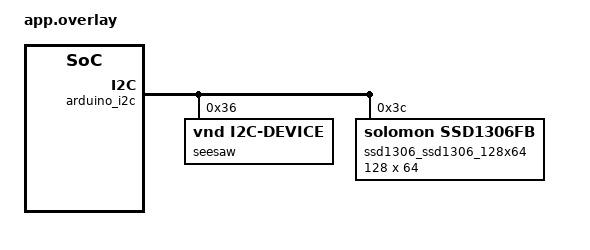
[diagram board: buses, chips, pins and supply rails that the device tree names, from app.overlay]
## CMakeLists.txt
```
# SPDX-License-Identifier: Apache-2.0

cmake_minimum_required(VERSION 3.20.0)
find_package(Zephyr REQUIRED HINTS $ENV{ZEPHYR_BASE})
project(mass)

FILE(GLOB app_sources src/*.c)
target_sources(app PRIVATE ${app_sources})
target_include_directories(app PRIVATE inc)

if(CONFIG_BUILD_WITH_TFM)
  target_include_directories(app PRIVATE
    $<TARGET_PROPERTY:tfm,TFM_BINARY_DIR>/install/interface/include
  )
endif()
```

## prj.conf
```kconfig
CONFIG_STDOUT_CONSOLE=y

CONFIG_MAIN_STACK_SIZE=1536

CONFIG_USB_DEVICE_STACK_NEXT=y

CONFIG_STDOUT_CONSOLE=y
CONFIG_SERIAL=y
CONFIG_UART_LINE_CTRL=y
CONFIG_USBD_MSC_CLASS=y
CONFIG_USBD_MSC_LUNS_PER_INSTANCE=3

CONFIG_LOG=y
CONFIG_USBD_LOG_LEVEL_WRN=y
CONFIG_UDC_DRIVER_LOG_LEVEL_WRN=y

CONFIG_MAIN_STACK_SIZE=1536

CONFIG_BT_HCI_VS_EXT=n
CONFIG_BOARD_SERIAL_BACKEND_CDC_ACM=n

CONFIG_LV_Z_MEM_POOL_SIZE=16384
CONFIG_LV_Z_SHELL=y
CONFIG_MAIN_STACK_SIZE=2048

CONFIG_DISPLAY=y
CONFIG_DISPLAY_LOG_LEVEL_ERR=y

CONFIG_SHELL=y

CONFIG_LVGL=y
CONFIG_LV_MEM_CUSTOM=y
CONFIG_LV_USE_LOG=y
CONFIG_LV_USE_LABEL=y
CONFIG_LV_USE_ROLLER=y
CONFIG_LV_USE_MONKEY=y
CONFIG_LV_FONT_UNSCII_8=y

CONFIG_LV_Z_VDB_SIZE=64
CONFIG_LV_DPI_DEF=148
CONFIG_LV_Z_BITS_PER_PIXEL=1
CONFIG_LV_COLOR_DEPTH_1=y
CONFIG_LV_USE_THEME_DEFAULT=y
CONFIG_LV_THEME_DEFAULT_DARK=y

CONFIG_INPUT=y
CONFIG_LV_Z_ENCODER_INPUT=y
CONFIG_INPUT_EVENT_DUMP=y

CONFIG_I2C=y
CONFIG_I2C_CALLBACK=y
CONFIG_LVGL=y
CONFIG_LV_MEM_CUSTOM=y
CONFIG_LV_USE_LOG=y
CONFIG_LV_USE_LABEL=y
CONFIG_LV_USE_BTN=y
CONFIG_LV_USE_ARC=y
CONFIG_LV_USE_IMG=y
CONFIG_LV_USE_MONKEY=y
CONFIG_LV_FONT_MONTSERRAT_14=y

CONFIG_FLASH=y
CONFIG_FLASH_PAGE_LAYOUT=y
CONFIG_FLASH_MAP=y
CONFIG_DISK_DRIVER_FLASH=y
CONFIG_FILE_SYSTEM=y
CONFIG_FAT_FILESYSTEM_ELM=y
CONFIG_FS_FATFS_LFN=y
CONFIG_FS_FATFS_MAX_LFN=128
```

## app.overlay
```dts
/*
 * Copyright (c) 2023 Nordic Semiconductor ASA
 *
 * SPDX-License-Identifier: Apache-2.0
 */

#include <zephyr/dt-bindings/input/input-event-codes.h>

/ {
	chosen {
		zephyr,display = &ssd1306_ssd1306_128x64;
	};

	lvgl_encoder_input {
		compatible = "zephyr,lvgl-encoder-input";
		rotation-input-code = <INPUT_REL_WHEEL>;
		button-input-code = <INPUT_KEY_ENTER>;
	};
};

&arduino_i2c {
	status = "okay";

    seesaw: seesaw@36 {
        compatible = "vnd,i2c-device";
        reg = <0x36>;
    };

	ssd1306_ssd1306_128x64: ssd1306@3c {
		compatible = "solomon,ssd1306fb";
		reg = <0x3c>;
		width = <128>;
		height = <64>;
		segment-offset = <0>;
		page-offset = <0>;
		display-offset = <0>;
		multiplex-ratio = <63>;
		segment-remap;
		com-invdir;
		prechargep = <0x22>;
	};
};
```

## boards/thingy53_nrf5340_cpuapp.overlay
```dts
/*
 * Copyright (c) 2020 Nordic Semiconductor ASA
 *
 * SPDX-License-Identifier: Apache-2.0
 */

/delete-node/ &storage_partition;
/delete-node/ &cdc_acm_uart;

arduino_i2c: &i2c0 {
	compatible = "nordic,nrf-twim";
	status = "okay";
	clock-frequency = <I2C_BITRATE_STANDARD>;

	pinctrl-0 = <&i2c0_default>;
	pinctrl-1 = <&i2c0_sleep>;
	pinctrl-names = "default", "sleep";
	zephyr,concat-buf-size = <1024>;	
};

&pinctrl {
    i2c0_default: i2c0_default {
		group1 {
			psels = <NRF_PSEL(TWIM_SCL, 0, 4)>,
				<NRF_PSEL(TWIM_SDA, 0, 5)>;
		};
	};

	i2c0_sleep: i2c0_sleep {
		group1 {
			psels = <NRF_PSEL(TWIM_SCL, 0, 4)>,
				<NRF_PSEL(TWIM_SDA, 0, 5)>;
			low-power-enable;
		};
	};
};

&mx25r64 {
	partitions {
		compatible = "fixed-partitions";
		#address-cells = <1>;
		#size-cells = <1>;

		storage_partition: partition@0 {
			label = "storage";
			reg = <0x00000000 0x00020000>;
		};
	};
};

/ {
	chosen {
		zephyr,console = &uart0;
		zephyr,shell-uart = &uart0;
		zephyr,uart-mcumgr = &uart0;
		zephyr,bt-mon-uart = &uart0;
		zephyr,bt-c2h-uart = &uart0;
	};
	msc_disk0 {
		compatible = "zephyr,flash-disk";
		partition = <&storage_partition>;
		disk-name = "NAND";
		cache-size = <4096>;
	};
};
```

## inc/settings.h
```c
#ifndef SETTINGS_H__
#define SETTINGS_H__

#define BOOT_OPTION_BUF_SIZE 64
#define BOOT_OPTION_KEY "boot_option"

#include <lvgl.h>

typedef struct {
    char selected_boot_option[BOOT_OPTION_BUF_SIZE];
    size_t length;
} boot_option_t;

int load_boot_option(boot_option_t *boot_option);
int set_boot_option(boot_option_t *boot_option);

void boot_option_cb(lv_event_t *event);

#endif
```

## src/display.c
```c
#include <zephyr/kernel.h>
#include <zephyr/logging/log.h>
#include <zephyr/zbus/zbus.h>

#include <zephyr/device.h>
#include <zephyr/drivers/display.h>
#include <zephyr/input/input.h>

#include <lvgl.h>
#include <lvgl_input_device.h>

#include <settings.h>

LOG_MODULE_REGISTER(display, LOG_LEVEL_DBG);

static const struct device *lvgl_encoder =
	DEVICE_DT_GET(DT_COMPAT_GET_ANY_STATUS_OKAY(zephyr_lvgl_encoder_input));

int display(void) {
	const struct device *display_dev;
    
	display_dev = DEVICE_DT_GET(DT_CHOSEN(zephyr_display));
	if (!device_is_ready(display_dev)) {
		LOG_ERR("Device not ready, aborting test");
		return 0;
	}

    lv_theme_t * dark_theme;
    dark_theme = lv_theme_mono_init(lv_disp_get_default(), true, &lv_font_unscii_8);
    lv_disp_set_theme(lv_disp_get_default(), dark_theme);

    /* Create a roller */
    lv_obj_t * roller = lv_roller_create(lv_scr_act());
    k_sleep(K_MSEC(100));
    lv_obj_add_event_cb(roller, boot_option_cb, LV_EVENT_KEY, NULL);
    lv_roller_set_options(roller, "Linux\nWindows\nUEFI\nGRUB", LV_ROLLER_MODE_INFINITE);

    lv_obj_set_size(roller, LV_HOR_RES-8, LV_VER_RES-8);
    lv_obj_align(roller, LV_ALIGN_CENTER, 0, 0);
    lv_roller_set_visible_row_count(roller, 3);

	lv_group_t *roller_group;
	roller_group = lv_group_create();
	lv_group_add_obj(roller_group, roller);
    lv_indev_set_group(lvgl_input_get_indev(lvgl_encoder), roller_group);
    lv_group_set_editing(roller_group, true);

	lv_task_handler();
	display_blanking_off(display_dev);

	while (1) {
		lv_task_handler();
		k_sleep(K_MSEC(10));
	}
}

K_THREAD_DEFINE(display_thread, 8192, display, NULL, NULL, NULL, 5, 0, 0);
```

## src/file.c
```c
#include <zephyr/kernel.h>
#include <zephyr/device.h>
#include <zephyr/storage/disk_access.h>
#include <zephyr/logging/log.h>
#include <zephyr/fs/fs.h>

#include <ff.h>

#include <settings.h>

char os_hw_switch_options[4][32] = {
    "set os_hw_switch=0\n",
    "set os_hw_switch=1\n",
    "set os_hw_switch=2\n",
    "set os_hw_switch=3\n",
};

#define DISK_MOUNT_PT "/NAND:"
#define PATH "/NAND:/boot_opt.cfg"

void boot_option_cb(lv_event_t *event) {

    struct fs_file_t file;
    fs_file_t_init(&file);

    int index = 0;
    index = lv_roller_get_selected(event->current_target);
#if 1
    fs_open(&file, PATH, FS_O_CREATE | FS_O_WRITE);
    fs_write(&file, os_hw_switch_options[index], strlen(os_hw_switch_options[index]));
    fs_close(&file);
#endif
}
```

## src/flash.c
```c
/*
 * Copyright (c) 2016 Intel Corporation.
 * Copyright (c) 2019-2020 Nordic Semiconductor ASA
 *
 * SPDX-License-Identifier: Apache-2.0
 */

#include <zephyr/kernel.h>
#include <zephyr/logging/log.h>
#include <zephyr/usb/usb_device.h>
#include <zephyr/usb/usbd.h>
#include <zephyr/usb/class/usbd_msc.h>
#include <zephyr/fs/fs.h>
#include <stdio.h>

LOG_MODULE_REGISTER(main);

#if CONFIG_DISK_DRIVER_FLASH
#include <zephyr/storage/flash_map.h>
#endif

#if CONFIG_FAT_FILESYSTEM_ELM
#include <ff.h>
#endif

#if CONFIG_FILE_SYSTEM_LITTLEFS
#include <zephyr/fs/littlefs.h>
FS_LITTLEFS_DECLARE_DEFAULT_CONFIG(storage);
#endif

#define STORAGE_PARTITION		storage_partition
#define STORAGE_PARTITION_ID		FIXED_PARTITION_ID(STORAGE_PARTITION)

static struct fs_mount_t fs_mnt;

#if defined(CONFIG_USB_DEVICE_STACK_NEXT)
USBD_CONFIGURATION_DEFINE(config_1,
			  USB_SCD_SELF_POWERED,
			  200);

USBD_DESC_LANG_DEFINE(sample_lang);
USBD_DESC_MANUFACTURER_DEFINE(sample_mfr, "ZEPHYR");
USBD_DESC_PRODUCT_DEFINE(sample_product, "Zephyr USBD MSC");
USBD_DESC_SERIAL_NUMBER_DEFINE(sample_sn, "0123456789ABCDEF");


USBD_DEVICE_DEFINE(sample_usbd,
		   DEVICE_DT_GET(DT_NODELABEL(zephyr_udc0)),
		   0x2fe3, 0x0008);

#if CONFIG_DISK_DRIVER_RAM
USBD_DEFINE_MSC_LUN(RAM, "Zephyr", "RAMDisk", "0.00");
#endif

#if CONFIG_DISK_DRIVER_FLASH
USBD_DEFINE_MSC_LUN(NAND, "Zephyr", "FlashDisk", "0.00");
#endif

#if CONFIG_DISK_DRIVER_SDMMC
USBD_DEFINE_MSC_LUN(SD, "Zephyr", "SD", "0.00");
#endif

static int enable_usb_device_next(void)
{
	int err;

	err = usbd_add_descriptor(&sample_usbd, &sample_lang);
	if (err) {
		LOG_ERR("Failed to initialize language descriptor (%d)", err);
		return err;
	}

	err = usbd_add_descriptor(&sample_usbd, &sample_mfr);
	if (err) {
		LOG_ERR("Failed to initialize manufacturer descriptor (%d)", err);
		return err;
	}

	err = usbd_add_descriptor(&sample_usbd, &sample_product);
	if (err) {
		LOG_ERR("Failed to initialize product descriptor (%d)", err);
		return err;
	}

	err = usbd_add_descriptor(&sample_usbd, &sample_sn);
	if (err) {
		LOG_ERR("Failed to initialize SN descriptor (%d)", err);
		return err;
	}

	err = usbd_add_configuration(&sample_usbd, &config_1);
	if (err) {
		LOG_ERR("Failed to add configuration (%d)", err);
		return err;
	}

	err = usbd_register_class(&sample_usbd, "msc_0", 1);
	if (err) {
		LOG_ERR("Failed to register MSC class (%d)", err);
		return err;
	}

	err = usbd_init(&sample_usbd);
	if (err) {
		LOG_ERR("Failed to initialize device support");
		return err;
	}

	err = usbd_enable(&sample_usbd);
	if (err) {
		LOG_ERR("Failed to enable device support");
		return err;
	}

	LOG_DBG("USB device support enabled");

	return 0;
}
#endif /* IS_ENABLED(CONFIG_USB_DEVICE_STACK_NEXT) */

static int setup_flash(struct fs_mount_t *mnt)
{
	int rc = 0;
#if CONFIG_DISK_DRIVER_FLASH
	unsigned int id;
	const struct flash_area *pfa;

	mnt->storage_dev = (void *)STORAGE_PARTITION_ID;
	id = STORAGE_PARTITION_ID;

	rc = flash_area_open(id, &pfa);
	printk("Area %u at 0x%x on %s for %u bytes\n",
	       id, (unsigned int)pfa->fa_off, pfa->fa_dev->name,
	       (unsigned int)pfa->fa_size);

	if (rc < 0) {
		printk("Erasing flash area ... ");
		rc = flash_area_erase(pfa, 0, pfa->fa_size);
		printk("%d\n", rc);
	}

	if (rc < 0) {
		flash_area_close(pfa);
	}
#endif
	return rc;
}

static int mount_app_fs(struct fs_mount_t *mnt)
{
	int rc;

#if CONFIG_FAT_FILESYSTEM_ELM
	static FATFS fat_fs;

	mnt->type = FS_FATFS;
	mnt->fs_data = &fat_fs;
	if (IS_ENABLED(CONFIG_DISK_DRIVER_RAM)) {
		mnt->mnt_point = "/RAM:";
	} else if (IS_ENABLED(CONFIG_DISK_DRIVER_SDMMC)) {
		mnt->mnt_point = "/SD:";
	} else {
		mnt->mnt_point = "/NAND:";
	}

#elif CONFIG_FILE_SYSTEM_LITTLEFS
	mnt->type = FS_LITTLEFS;
	mnt->mnt_point = "/lfs";
	mnt->fs_data = &storage;
#endif
	rc = fs_mount(mnt);

	return rc;
}

static void setup_disk(void)
{
	struct fs_mount_t *mp = &fs_mnt;
	struct fs_dir_t dir;
	struct fs_statvfs sbuf;
	int rc;

	fs_dir_t_init(&dir);

	if (IS_ENABLED(CONFIG_DISK_DRIVER_FLASH)) {
		rc = setup_flash(mp);
		if (rc < 0) {
			LOG_ERR("Failed to setup flash area");
			return;
		}
	}

	if (!IS_ENABLED(CONFIG_FILE_SYSTEM_LITTLEFS) &&
	    !IS_ENABLED(CONFIG_FAT_FILESYSTEM_ELM)) {
		LOG_INF("No file system selected");
		return;
	}

	rc = mount_app_fs(mp);
	if (rc < 0) {
		LOG_ERR("Failed to mount filesystem");
		return;
	}

	/* Allow log messages to flush to avoid interleaved output */
	k_sleep(K_MSEC(50));

	printk("Mount %s: %d\n", fs_mnt.mnt_point, rc);

	rc = fs_statvfs(mp->mnt_point, &sbuf);
	if (rc < 0) {
		printk("FAIL: statvfs: %d\n", rc);
		return;
	}

	printk("%s: bsize = %lu ; frsize = %lu ;"
	       " blocks = %lu ; bfree = %lu\n",
	       mp->mnt_point,
	       sbuf.f_bsize, sbuf.f_frsize,
	       sbuf.f_blocks, sbuf.f_bfree);

	rc = fs_opendir(&dir, mp->mnt_point);
	printk("%s opendir: %d\n", mp->mnt_point, rc);

	if (rc < 0) {
		LOG_ERR("Failed to open directory");
	}

	while (rc >= 0) {
		struct fs_dirent ent = { 0 };

		rc = fs_readdir(&dir, &ent);
		if (rc < 0) {
			LOG_ERR("Failed to read directory entries");
			break;
		}
		if (ent.name[0] == 0) {
			printk("End of files\n");
			break;
		}
		printk("  %c %u %s\n",
		       (ent.type == FS_DIR_ENTRY_FILE) ? 'F' : 'D',
		       ent.size,
		       ent.name);
	}

	(void)fs_closedir(&dir);

	return;
}

int main(void)
{
	int ret;

	setup_disk();

#if defined(CONFIG_USB_DEVICE_STACK_NEXT)
	ret = enable_usb_device_next();
#else
	ret = usb_enable(NULL);
#endif
	if (ret != 0) {
		LOG_ERR("Failed to enable USB");
		return 0;
	}

	LOG_INF("The device is put in USB mass storage mode.\n");
	return 0;
}
```

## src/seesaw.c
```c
#include <zephyr/kernel.h>
#include <zephyr/logging/log.h>
#include <zephyr/zbus/zbus.h>

#include <zephyr/device.h>
#include <zephyr/drivers/i2c.h>
#include <zephyr/input/input.h>
#include <lvgl.h>

LOG_MODULE_REGISTER(seesaw, LOG_LEVEL_DBG);

enum {
  SEESAW_STATUS_BASE = 0x00,
  SEESAW_GPIO_BASE = 0x01,
  SEESAW_SERCOM0_BASE = 0x02,

  SEESAW_TIMER_BASE = 0x08,
  SEESAW_ADC_BASE = 0x09,
  SEESAW_DAC_BASE = 0x0A,
  SEESAW_INTERRUPT_BASE = 0x0B,
  SEESAW_DAP_BASE = 0x0C,
  SEESAW_EEPROM_BASE = 0x0D,
  SEESAW_NEOPIXEL_BASE = 0x0E,
  SEESAW_TOUCH_BASE = 0x0F,
  SEESAW_KEYPAD_BASE = 0x10,
  SEESAW_ENCODER_BASE = 0x11,
  SEESAW_SPECTRUM_BASE = 0x12,
};

/** GPIO module function address registers
 */
enum {
  SEESAW_GPIO_DIRSET_BULK = 0x02,
  SEESAW_GPIO_DIRCLR_BULK = 0x03,
  SEESAW_GPIO_BULK = 0x04,
  SEESAW_GPIO_BULK_SET = 0x05,
  SEESAW_GPIO_BULK_CLR = 0x06,
  SEESAW_GPIO_BULK_TOGGLE = 0x07,
  SEESAW_GPIO_INTENSET = 0x08,
  SEESAW_GPIO_INTENCLR = 0x09,
  SEESAW_GPIO_INTFLAG = 0x0A,
  SEESAW_GPIO_PULLENSET = 0x0B,
  SEESAW_GPIO_PULLENCLR = 0x0C,
};

/** status module function address registers
 */
enum {
  SEESAW_STATUS_HW_ID = 0x01,
  SEESAW_STATUS_VERSION = 0x02,
  SEESAW_STATUS_OPTIONS = 0x03,
  SEESAW_STATUS_TEMP = 0x04,
  SEESAW_STATUS_SWRST = 0x7F,
};

/** timer module function address registers
 */
enum {
  SEESAW_TIMER_STATUS = 0x00,
  SEESAW_TIMER_PWM = 0x01,
  SEESAW_TIMER_FREQ = 0x02,
};

/** ADC module function address registers
 */
enum {
  SEESAW_ADC_STATUS = 0x00,
  SEESAW_ADC_INTEN = 0x02,
  SEESAW_ADC_INTENCLR = 0x03,
  SEESAW_ADC_WINMODE = 0x04,
  SEESAW_ADC_WINTHRESH = 0x05,
  SEESAW_ADC_CHANNEL_OFFSET = 0x07,
};

/** Sercom module function address registers
 */
enum {
  SEESAW_SERCOM_STATUS = 0x00,
  SEESAW_SERCOM_INTEN = 0x02,
  SEESAW_SERCOM_INTENCLR = 0x03,
  SEESAW_SERCOM_BAUD = 0x04,
  SEESAW_SERCOM_DATA = 0x05,
};

/** neopixel module function address registers
 */
enum {
  SEESAW_NEOPIXEL_STATUS = 0x00,
  SEESAW_NEOPIXEL_PIN = 0x01,
  SEESAW_NEOPIXEL_SPEED = 0x02,
  SEESAW_NEOPIXEL_BUF_LENGTH = 0x03,
  SEESAW_NEOPIXEL_BUF = 0x04,
  SEESAW_NEOPIXEL_SHOW = 0x05,
};

/** touch module function address registers
 */
enum {
  SEESAW_TOUCH_CHANNEL_OFFSET = 0x10,
};

/** keypad module function address registers
 */
enum {
  SEESAW_KEYPAD_STATUS = 0x00,
  SEESAW_KEYPAD_EVENT = 0x01,
  SEESAW_KEYPAD_INTENSET = 0x02,
  SEESAW_KEYPAD_INTENCLR = 0x03,
  SEESAW_KEYPAD_COUNT = 0x04,
  SEESAW_KEYPAD_FIFO = 0x10,
};

/** keypad module edge definitions
 */
enum {
  SEESAW_KEYPAD_EDGE_HIGH = 0,
  SEESAW_KEYPAD_EDGE_LOW,
  SEESAW_KEYPAD_EDGE_FALLING,
  SEESAW_KEYPAD_EDGE_RISING,
};

/** encoder module edge definitions
 */
enum {
  SEESAW_ENCODER_STATUS = 0x00,
  SEESAW_ENCODER_INTENSET = 0x10,
  SEESAW_ENCODER_INTENCLR = 0x20,
  SEESAW_ENCODER_POSITION = 0x30,
  SEESAW_ENCODER_DELTA = 0x40,
};

/** Audio spectrum module function address registers
 */
enum {
  SEESAW_SPECTRUM_RESULTS_LOWER = 0x00, // Audio spectrum bins 0-31
  SEESAW_SPECTRUM_RESULTS_UPPER = 0x01, // Audio spectrum bins 32-63
  // If some future device supports a larger spectrum, can add additional
  // "bins" working upward from here. Configurable setting registers then
  // work downward from the top to avoid collision between spectrum bins
  // and configurables.
  SEESAW_SPECTRUM_CHANNEL = 0xFD,
  SEESAW_SPECTRUM_RATE = 0xFE,
  SEESAW_SPECTRUM_STATUS = 0xFF,
};

#define SEESAW_HW_ID_CODE_SAMD09 0x55 ///< seesaw HW ID code for SAMD09
#define SEESAW_HW_ID_CODE_TINY806 0x84 ///< seesaw HW ID code for ATtiny806
#define SEESAW_HW_ID_CODE_TINY807 0x85 ///< seesaw HW ID code for ATtiny807
#define SEESAW_HW_ID_CODE_TINY816 0x86 ///< seesaw HW ID code for ATtiny816
#define SEESAW_HW_ID_CODE_TINY817 0x87 ///< seesaw HW ID code for ATtiny817
#define SEESAW_HW_ID_CODE_TINY1616 0x88 ///< seesaw HW ID code for ATtiny1616
#define SEESAW_HW_ID_CODE_TINY1617 0x89 ///< seesaw HW ID code for ATtiny1617

#define TX_BUF_SIZE 64
int seesaw_write_read_dt(const struct i2c_dt_spec *dev, uint8_t high_addr, uint8_t low_addr, uint8_t *tx_buf, size_t len, uint8_t *rx_buf, size_t rx_len) {
    int err;
    if (len > TX_BUF_SIZE - 2) {
        LOG_ERR("I2C write too long: %d", len);
        return -EINVAL;
    }

    uint8_t write_buf[TX_BUF_SIZE] = {high_addr, low_addr};

    err = i2c_write_read_dt(dev, write_buf, len + 2, rx_buf, rx_len);

    return err;
}

int seesaw_reset(const struct i2c_dt_spec *dev) {
    int err;
    uint8_t reset_buf = 0xFF; 

    err = seesaw_write_read_dt(dev, SEESAW_STATUS_BASE, SEESAW_STATUS_SWRST, &reset_buf, 1, NULL, 0);

    return err;
}

int seesaw_init(const struct i2c_dt_spec *dev) {
    int err;
    err = seesaw_reset(dev);
    if (err) {
        LOG_ERR("Seesaw reset failed: %d", err);
        return err;
    }
    k_msleep(10);

    uint8_t hardware_id;
    err = seesaw_write_read_dt(dev, SEESAW_STATUS_BASE, SEESAW_STATUS_HW_ID, NULL, 0, &hardware_id, 1);

    if (hardware_id != SEESAW_HW_ID_CODE_SAMD09) {
        LOG_ERR("Seesaw HW ID mismatch: 0x%x", hardware_id);
        return -EINVAL;
    }

    return err;
}

int seesaw_reset_encoder_position(const struct i2c_dt_spec *dev) {
    int err;
    uint8_t position[4] = {0}; 

    err = seesaw_write_read_dt(dev, SEESAW_ENCODER_BASE, SEESAW_ENCODER_POSITION, position, 4, NULL, 0);

    return err;
}

int seesaw_get_encoder_delta(const struct i2c_dt_spec *dev, int32_t *delta) {
    int err;
    uint8_t delta_buf[4] = {0};
    err = seesaw_write_read_dt(dev, SEESAW_ENCODER_BASE, SEESAW_ENCODER_DELTA, NULL, 0, delta_buf, 4);
    *delta = delta_buf[0] << 24 | delta_buf[1] << 16 | delta_buf[2] << 8 | delta_buf[3];
    return err;
}

int seesaw_get_button_pressed(const struct i2c_dt_spec *dev, uint8_t *pressed) {
    int err;
    uint8_t pressed_buf = 0;
    err = seesaw_write_read_dt(dev, SEESAW_KEYPAD_BASE, SEESAW_KEYPAD_EVENT, NULL, 0, &pressed_buf, 1);
    *pressed = pressed_buf;
    return err;
}

const struct i2c_dt_spec seesaw_dev = I2C_DT_SPEC_GET(DT_NODELABEL(seesaw)); 

static const struct device *lvgl_encoder =
	DEVICE_DT_GET(DT_COMPAT_GET_ANY_STATUS_OKAY(zephyr_lvgl_encoder_input));

int seesaw(void) {
    k_msleep(1000);
    int err;
    /*
    err = seesaw_init(&seesaw_dev);
    if (err) {
        LOG_ERR("Seesaw init failed: %d", err);
    }*/

    LOG_INF("Seesaw init done");

    int32_t encoder_delta = 0;
    while (true) {
        err = seesaw_get_encoder_delta(&seesaw_dev, &encoder_delta);
        if (err) {
            LOG_ERR("Seesaw get encoder delta failed: %d", err);
        }
        if (encoder_delta != 0) {
            err = input_report_rel(lvgl_encoder, INPUT_REL_WHEEL, encoder_delta, true, K_FOREVER);
        }
        k_msleep(50);
    }
}


K_THREAD_DEFINE(seesaw_id, 1024, seesaw, NULL, NULL, NULL, 7, 0, 0);
```
